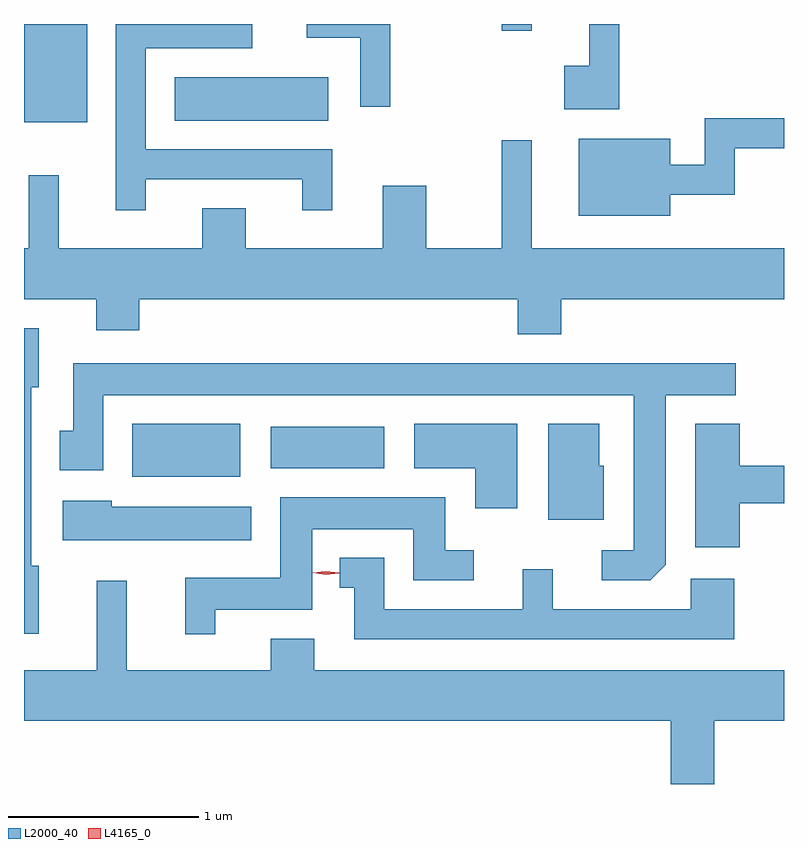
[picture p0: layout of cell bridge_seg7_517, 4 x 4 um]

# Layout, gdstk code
import gdstk
lib = gdstk.Library(unit=1e-6, precision=1e-09)
def R(c, l, rs):  # rectangles x0, y0, x1, y1
    for r in rs: c.add(gdstk.rectangle(r[:2], r[2:], *l))
def P(c, l, *ps):  # polygons
    for p in ps: c.add(gdstk.Polygon(p, *l))
L2000_40 = (2000, 40)
L4165_0 = (4165, 0)

bridge_seg7_517 = lib.new_cell('bridge_seg7_517')
R(bridge_seg7_517, L2000_40, [(920.481,1742.241,921.049,1742.519), (921.211,1742.286,921.809,1742.504), (919.912,1744.106,920.244,1744.624), (920.706,1744.116,921.514,1744.344), (922.426,1744.588,922.584,1744.624)])
P(bridge_seg7_517, L2000_40, [(920.554,1743.806),(921.376,1743.806),(921.376,1743.643),(921.534,1743.643),(921.534,1743.964),(920.554,1743.964),(920.554,1744.496),(921.114,1744.496),(921.114,1744.624),(920.396,1744.624),(920.396,1743.643),(920.554,1743.643)],
  [(923.044,1744.624),(922.886,1744.624),(922.886,1744.404),(922.756,1744.404),(922.756,1744.176),(923.044,1744.176)],
  [(921.839,1744.624),(921.401,1744.624),(921.401,1744.551),(921.681,1744.551),(921.681,1744.188),(921.839,1744.188)],
  [(923.314,1743.726),(923.654,1743.726),(923.654,1743.971),(923.912,1743.971),(923.912,1744.129),(923.496,1744.129),(923.496,1743.884),(923.314,1743.884),(923.314,1744.019),(922.831,1744.019),(922.831,1743.616),(923.314,1743.616)],
  [(922.739,1743.176),(923.912,1743.176),(923.912,1743.444),(922.584,1743.444),(922.584,1744.013),(922.426,1744.013),(922.426,1743.444),(922.029,1743.444),(922.029,1743.774),(921.801,1743.774),(921.801,1743.444),(921.079,1743.444),(921.079,1743.654),(920.851,1743.654),(920.851,1743.444),(920.094,1743.444),(920.094,1743.828),(919.936,1743.828),(919.936,1743.444),(919.912,1743.444),(919.912,1743.176),(920.291,1743.176),(920.291,1743.011),(920.519,1743.011),(920.519,1743.176),(922.511,1743.176),(922.511,1742.991),(922.739,1742.991)],
  [(919.989,1741.774),(919.949,1741.774),(919.949,1742.711),(919.989,1742.711),(919.989,1743.024),(919.912,1743.024),(919.912,1741.416),(919.989,1741.416)],
  [(923.289,1741.777),(923.289,1742.671),(923.658,1742.671),(923.658,1742.839),(920.171,1742.839),(920.171,1742.484),(920.101,1742.484),(920.101,1742.276),(920.329,1742.276),(920.329,1742.671),(923.121,1742.671),(923.121,1741.854),(922.953,1741.854),(922.953,1741.696),(923.209,1741.696)],
  [(922.509,1742.519),(921.966,1742.519),(921.966,1742.286),(922.286,1742.286),(922.286,1742.076),(922.509,1742.076)],
  [(923.679,1742.101),(923.912,1742.101),(923.912,1742.299),(923.679,1742.299),(923.679,1742.519),(923.446,1742.519),(923.446,1741.871),(923.679,1741.871)],
  [(922.964,1742.299),(922.939,1742.299),(922.939,1742.519),(922.671,1742.519),(922.671,1742.016),(922.964,1742.016)],
  [(920.919,1741.541),(921.429,1741.541),(921.429,1741.966),(921.961,1741.966),(921.961,1741.696),(922.278,1741.696),(922.278,1741.854),(922.129,1741.854),(922.129,1742.134),(921.261,1742.134),(921.261,1741.709),(920.761,1741.709),(920.761,1741.413),(920.919,1741.413)],
  [(921.109,1742.084),(920.374,1742.084),(920.374,1742.114),(920.116,1742.114),(920.116,1741.906),(921.109,1741.906)],
  [(923.649,1741.704),(923.421,1741.704),(923.421,1741.544),(922.694,1741.544),(922.694,1741.753),(922.536,1741.753),(922.536,1741.544),(921.809,1741.544),(921.809,1741.814),(921.573,1741.814),(921.573,1741.656),(921.651,1741.656),(921.651,1741.386),(923.649,1741.386)],
  [(923.544,1740.956),(923.912,1740.956),(923.912,1741.224),(921.439,1741.224),(921.439,1741.389),(921.211,1741.389),(921.211,1741.224),(920.454,1741.224),(920.454,1741.693),(920.296,1741.693),(920.296,1741.224),(919.912,1741.224),(919.912,1740.956),(923.316,1740.956),(923.316,1740.624),(923.544,1740.624)])
P(bridge_seg7_517, L4165_0, [(921.501,1741.725),(921.432,1741.735),(921.432,1741.735),(921.432,1741.736),(921.501,1741.745),(921.571,1741.735),(921.571,1741.735),(921.571,1741.734)])

lib.write_gds('bridge_seg7_517.gds')
